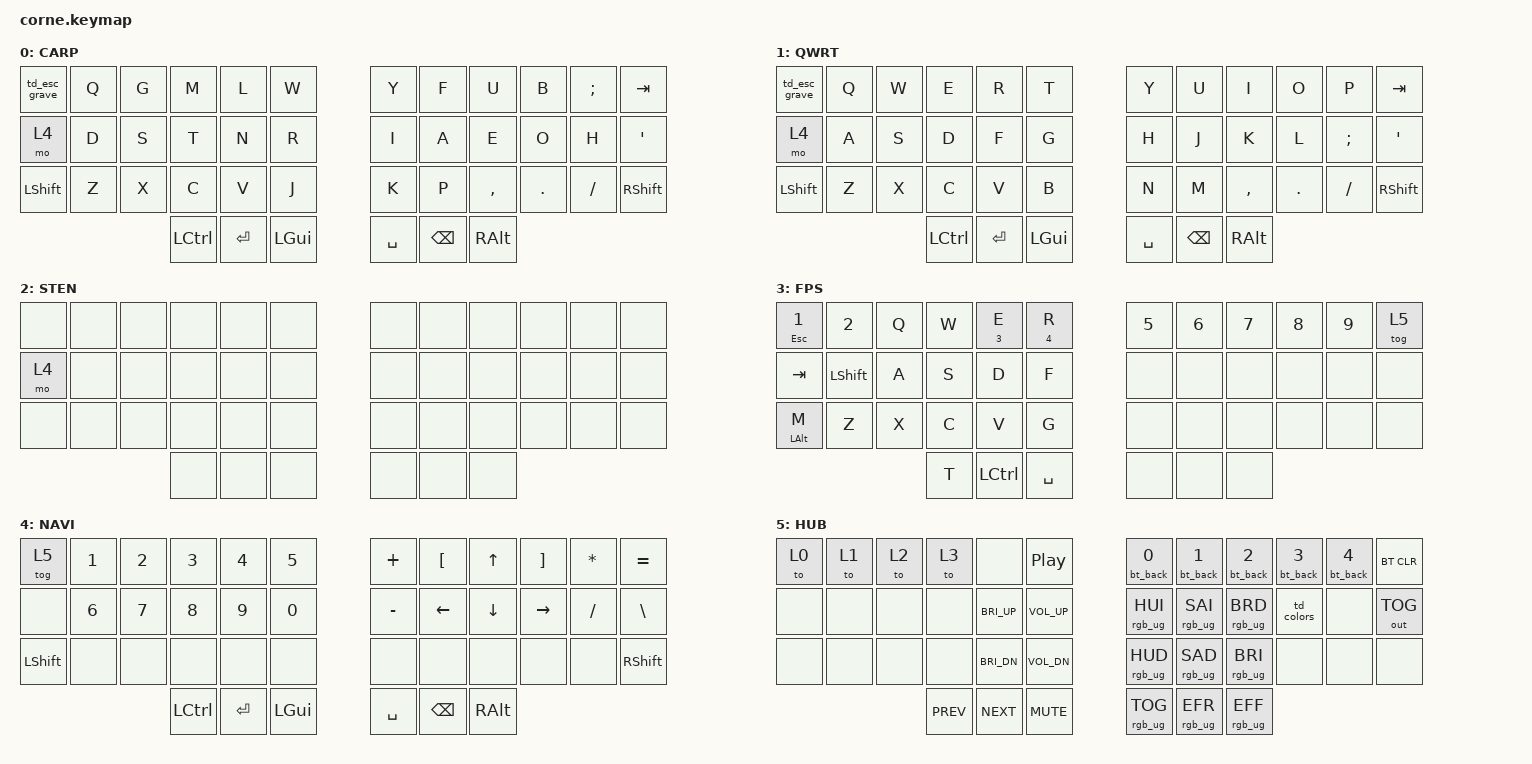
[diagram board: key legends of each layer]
/*
 * Copyright (c) 2020 The ZMK Contributors
 *
 * SPDX-License-Identifier: MIT
 */

#include <behaviors.dtsi>
#include <dt-bindings/zmk/keys.h>
#include <dt-bindings/zmk/bt.h>
#include <dt-bindings/zmk/outputs.h>
#include <dt-bindings/zmk/ext_power.h>
#include <dt-bindings/led/led.h>
#include <dt-bindings/zmk/backlight.h>
#include <dt-bindings/zmk/rgb.h>
#include <dt-bindings/zmk/reset.h>
#include <dt-bindings/zmk/rgb_colors.h>

&led_strip {
    chain-length = <27>;
};

/ {
    behaviors {
        // BT select, then drop HUB so the layout underneath (CARP/QWRT/FPS) comes back.
        bt_back: bt_back {
            compatible = "zmk,behavior-macro-one-param";
            #binding-cells = <1>;
            bindings = <&macro_param_1to2>, <&bt BT_SEL MACRO_PLACEHOLDER>, <&tog 5>;
        };
        ht_mute_pp: ht_mute_pp {
            compatible = "zmk,behavior-hold-tap";
            #binding-cells = <2>;
            tapping-term-ms = <200>;
            bindings = <&kp>, <&kp>;
        };
        td_esc_grave: td_esc_grave {
            compatible = "zmk,behavior-tap-dance";
            #binding-cells = <0>;
            tapping-term-ms = <200>;
            bindings = <&kp GRAVE>, <&kp ESC>;
        };
        td_rgb: td_rgb {
            compatible = "zmk,behavior-tap-dance";
            #binding-cells = <0>;
            tapping-term-ms = <300>;
            bindings = <&rgb_ug RGB_TOG>, <&rgb_ug RGB_EFF>, <&rgb_ug RGB_EFR>;
        };
        td_colors: td_colors {
            compatible = "zmk,behavior-tap-dance";
            #binding-cells = <0>;
            tapping-term-ms = <400>;
            bindings = <&rgb_ug RGB_COLOR_HSB(270,89,90)>,
                       <&rgb_ug RGB_COLOR_HSB(0,0,100)>,
                       <&rgb_ug RGB_COLOR_HSB(0,100,100)>,
                       <&rgb_ug RGB_COLOR_HSB(240,100,100)>,
                       <&rgb_ug RGB_COLOR_HSB(120,100,100)>;
        };
    };

    combos {
        compatible = "zmk,combos";
        // Top + home row combos = numbers (like ecosteno)
        combo_1 { key-positions = <1 13>; bindings = <&kp N1>; layers = <0 1>; };
        combo_2 { key-positions = <2 14>; bindings = <&kp N2>; layers = <0 1>; };
        combo_3 { key-positions = <3 15>; bindings = <&kp N3>; layers = <0 1>; };
        combo_4 { key-positions = <4 16>; bindings = <&kp N4>; layers = <0 1>; };
        combo_5 { key-positions = <5 17>; bindings = <&kp N5>; layers = <0 1>; };
        combo_6 { key-positions = <6 18>; bindings = <&kp N6>; layers = <0 1>; };
        combo_7 { key-positions = <7 19>; bindings = <&kp N7>; layers = <0 1>; };
        combo_8 { key-positions = <8 20>; bindings = <&kp N8>; layers = <0 1>; };
        combo_9 { key-positions = <9 21>; bindings = <&kp N9>; layers = <0 1>; };
        combo_0 { key-positions = <10 22>; bindings = <&kp N0>; layers = <0 1>; };
    };

    /*
     * Per-key RGB layer colors (darknao fork).
     *
     * pixel-lookup maps LED chain index → key position.
     * Current mapping assumes left-half serpentine wiring:
     *   underglow(6) → row0(L→R) → row1(R→L) → row2(L→R) → thumbs(R→L)
     * Right half will mirror left colors until per-half overlays are added.
     * Adjust pixel-lookup if LEDs map to wrong keys on your PCB.
     *
     * Key positions:
     *  0  1  2  3  4  5  |  6  7  8  9 10 11
     * 12 13 14 15 16 17  | 18 19 20 21 22 23
     * 24 25 26 27 28 29  | 30 31 32 33 34 35
     *          36 37 38  | 39 40 41
     */
    underglow-layer {
        compatible = "zmk,underglow-layer";
        /* Foostan Corne v1.1 LED chain (left half):
         * Column-by-column snake with interleaved thumbs.
         *   chain 0-5:   underglow (skip)
         *   chain 6-8:   thumb0 → bottom/home/top col0
         *   chain 9-12:  top/home/bottom col1 → thumb1 → thumb2
         *   chain 13-17: bottom/home/top col2 → top/home/bottom col3
         *   chain 18-22: bottom/home/top col4 → top/home/bottom col5
         */
        pixel-lookup = <
            255 255 255 255 255 255
             36  24  12   0   1  13
             25  37  38  26  14   2
              3  15  27  28  16   4
              5  17  29
        >;

        carp_rgb {
            layer-id = <0>;
            bindings = <
                &ug WHITE &ug TEAL  &ug TEAL  &ug TEAL  &ug TEAL  &ug TEAL
                &ug TEAL  &ug TEAL  &ug TEAL  &ug TEAL  &ug TEAL  &ug WHITE
                &ug WHITE &ug TEAL  &ug TEAL  &ug TEAL  &ug TEAL  &ug TEAL
                &ug TEAL  &ug TEAL  &ug TEAL  &ug TEAL  &ug TEAL  &ug WHITE
                &ug WHITE &ug TEAL  &ug TEAL  &ug TEAL  &ug TEAL  &ug TEAL
                &ug TEAL  &ug TEAL  &ug TEAL  &ug TEAL  &ug TEAL  &ug WHITE
                &ug PURPLE &ug WHITE &ug WHITE
                &ug WHITE  &ug WHITE &ug PURPLE
            >;
        };

        qwrt_rgb {
            layer-id = <1>;
            bindings = <
                &ug WHITE &ug BLUE  &ug BLUE  &ug BLUE  &ug BLUE  &ug BLUE
                &ug BLUE  &ug BLUE  &ug BLUE  &ug BLUE  &ug BLUE  &ug WHITE
                &ug WHITE &ug BLUE  &ug BLUE  &ug BLUE  &ug BLUE  &ug BLUE
                &ug BLUE  &ug BLUE  &ug BLUE  &ug BLUE  &ug BLUE  &ug WHITE
                &ug WHITE &ug BLUE  &ug BLUE  &ug BLUE  &ug BLUE  &ug BLUE
                &ug BLUE  &ug BLUE  &ug BLUE  &ug BLUE  &ug BLUE  &ug WHITE
                &ug PURPLE &ug WHITE &ug WHITE
                &ug WHITE  &ug WHITE &ug PURPLE
            >;
        };

        sten_rgb {
            layer-id = <2>;
            bindings = <
                &ug ___   &ug RED   &ug RED   &ug RED   &ug RED   &ug RED
                &ug RED   &ug RED   &ug RED   &ug RED   &ug RED   &ug WHITE
                &ug WHITE &ug RED   &ug RED   &ug RED   &ug RED   &ug RED
                &ug RED   &ug RED   &ug RED   &ug RED   &ug RED   &ug RED
                &ug ___   &ug RED   &ug RED   &ug RED   &ug RED   &ug RED
                &ug RED   &ug RED   &ug RED   &ug RED   &ug RED   &ug RED
                &ug ___    &ug RED   &ug RED
                &ug RED    &ug RED   &ug ___
            >;
        };

        fps_rgb {
            layer-id = <3>;
            bindings = <
                &ug ORANGE &ug ORANGE &ug BLUE  &ug GREEN  &ug BLUE  &ug BLUE
                &ug ___    &ug ___    &ug ___   &ug ___    &ug ___   &ug WHITE
                &ug BLUE   &ug ORANGE &ug GREEN &ug GREEN  &ug GREEN &ug BLUE
                &ug ___    &ug ___    &ug ___   &ug ___    &ug ___   &ug ___
                &ug ORANGE &ug BLUE   &ug BLUE  &ug BLUE   &ug BLUE  &ug BLUE
                &ug ___    &ug ___    &ug ___   &ug ___    &ug ___   &ug ___
                &ug BLUE   &ug ORANGE &ug GREEN
                &ug ___    &ug ___    &ug ___
            >;
        };

        navi_rgb {
            layer-id = <4>;
            bindings = <
                &ug PURPLE &ug YELLOW &ug YELLOW &ug YELLOW &ug YELLOW &ug YELLOW
                &ug BLUE   &ug BLUE   &ug BLUE   &ug BLUE   &ug BLUE   &ug BLUE
                &ug ___    &ug YELLOW &ug YELLOW &ug YELLOW &ug YELLOW &ug YELLOW
                &ug BLUE   &ug BLUE   &ug BLUE   &ug BLUE   &ug BLUE   &ug BLUE
                &ug WHITE  &ug ___    &ug ___    &ug ___    &ug ___    &ug ___
                &ug ___    &ug ___    &ug ___    &ug ___    &ug ___    &ug WHITE
                &ug WHITE  &ug WHITE  &ug WHITE
                &ug WHITE  &ug WHITE  &ug WHITE
            >;
        };

        hub_rgb {
            layer-id = <5>;
            bindings = <
                &ug GREEN  &ug GREEN  &ug GREEN  &ug GREEN  &ug ___    &ug ORANGE
                &ug PURPLE &ug PURPLE &ug PURPLE &ug PURPLE &ug PURPLE &ug RED
                &ug ___    &ug ___    &ug ___    &ug ___    &ug TEAL   &ug TEAL
                &ug PURPLE &ug PURPLE &ug PURPLE &ug ORANGE &ug ___    &ug WHITE
                &ug ___    &ug ___    &ug ___    &ug ___    &ug TEAL   &ug TEAL
                &ug PURPLE &ug PURPLE &ug PURPLE &ug ___    &ug ___    &ug ___
                &ug ORANGE &ug ORANGE &ug ORANGE
                &ug BLUE   &ug BLUE   &ug BLUE
            >;
            fade-delay = <15>;
        };
    };

    keymap {
        compatible = "zmk,keymap";

        carpalx_layer {
            display-name = "CARP";
            bindings = <
&td_esc_grave  &kp Q   &kp G   &kp M     &kp L     &kp W        &kp Y     &kp F    &kp U      &kp B    &kp SEMI  &kp TAB
&mo 4  &kp D   &kp S   &kp T     &kp N     &kp R        &kp I     &kp A    &kp E      &kp O    &kp H     &kp SQT
&kp LSHFT  &kp Z   &kp X   &kp C     &kp V     &kp J        &kp K     &kp P    &kp COMMA  &kp DOT  &kp FSLH  &kp RSHFT
                            &kp LCTRL &kp RET &kp LGUI  &kp SPACE &kp BSPC &kp RALT
            >;
        };

        qwerty_layer {
            display-name = "QWRT";
            bindings = <
&td_esc_grave  &kp Q   &kp W   &kp E     &kp R     &kp T        &kp Y     &kp U    &kp I      &kp O    &kp P     &kp TAB
&mo 4  &kp A   &kp S   &kp D     &kp F     &kp G        &kp H     &kp J    &kp K      &kp L    &kp SEMI  &kp SQT
&kp LSHFT  &kp Z   &kp X   &kp C     &kp V     &kp B        &kp N     &kp M    &kp COMMA  &kp DOT  &kp FSLH  &kp RSHFT
                            &kp LCTRL &kp RET &kp LGUI  &kp SPACE &kp BSPC &kp RALT
            >;
        };

        steno_layer {
            display-name = "STEN";
            bindings = <
&none   &none  &none  &none  &none  &none      &none  &none  &none  &none  &none  &none
&mo 4   &none  &none  &none  &none  &none      &none  &none  &none  &none  &none  &none
&none   &none  &none  &none  &none  &none      &none  &none  &none  &none  &none  &none
                       &none  &none  &none      &none  &none  &none
            >;
        };

        fps_layer {
            display-name = "FPS";
            bindings = <
&mt ESC N1 &kp N2    &kp Q   &kp W   &mt N3 E &mt N4 R    &kp N5  &kp N6  &kp N7  &kp N8  &kp N9    &tog 5
&kp TAB    &kp LSHFT &kp A   &kp S   &kp D   &kp F        &none   &none   &none   &none   &none     &none
&mt LALT M &kp Z     &kp X   &kp C   &kp V   &kp G        &none   &none   &none   &none   &none     &none
                              &kp T &kp LCTRL &kp SPACE  &none   &none   &none
            >;
        };

        navi_layer {
            display-name = "NAVI";
            bindings = <
&tog 5      &kp N1  &kp N2  &kp N3  &kp N4  &kp N5      &kp PLUS  &kp LBKT  &kp UP    &kp RBKT  &kp ASTRK  &kp EQUAL
&none       &kp N6  &kp N7  &kp N8  &kp N9  &kp N0      &kp MINUS &kp LEFT  &kp DOWN  &kp RIGHT &kp FSLH   &kp BSLH
&kp LSHFT   &none   &none   &none   &none   &none       &none     &none     &none     &none     &none      &kp RSHFT
                             &kp LCTRL &kp RET &kp LGUI  &kp SPACE &kp BSPC  &kp RALT
            >;
        };

        hub_layer {
            display-name = "HUB";
            bindings = <
&to 0           &to 1           &to 2           &to 3           &none           &kp C_PP        &bt_back 0     &bt_back 1     &bt_back 2     &bt_back 3     &bt_back 4     &bt BT_CLR
&none           &none           &none           &none           &kp C_BRI_UP    &kp C_VOL_UP    &rgb_ug RGB_HUI &rgb_ug RGB_SAI &rgb_ug RGB_BRD &td_colors &none         &out OUT_TOG
&none           &none           &none           &none           &kp C_BRI_DN    &kp C_VOL_DN    &rgb_ug RGB_HUD &rgb_ug RGB_SAD &rgb_ug RGB_BRI &none     &none          &none
                                                &kp C_PREV      &kp C_NEXT      &kp C_MUTE      &rgb_ug RGB_TOG &rgb_ug RGB_EFR &rgb_ug RGB_EFF
            >;
        };

    };
};
